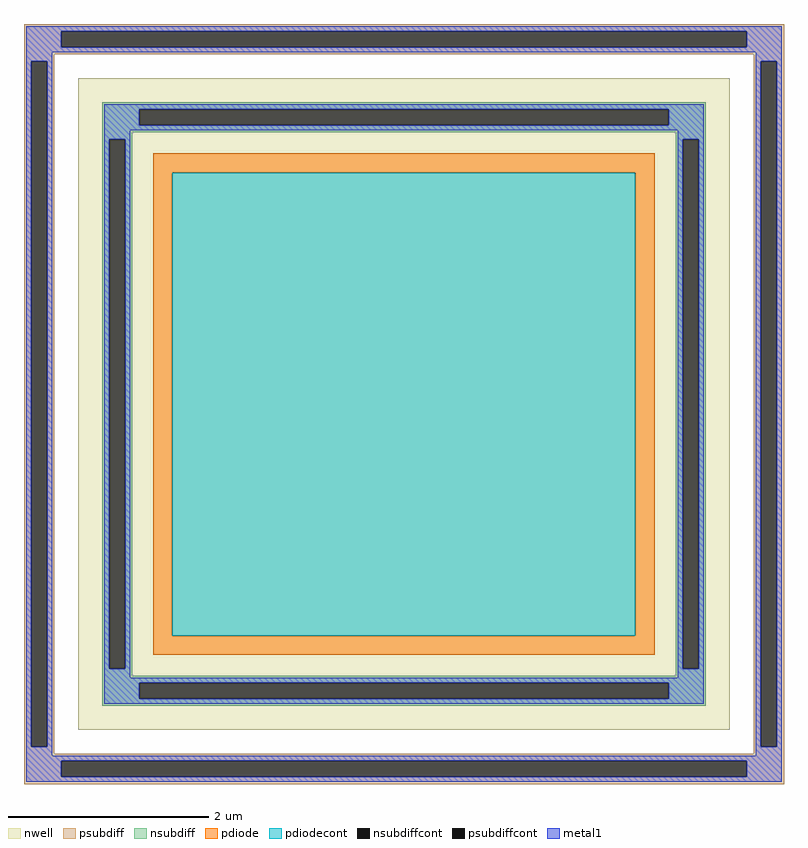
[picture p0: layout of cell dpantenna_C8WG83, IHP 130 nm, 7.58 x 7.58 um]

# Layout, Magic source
magic
tech ihp-sg13g2
magscale 1 2
<< nwell >>
rect -650 -650 650 650
<< psubdiff >>
rect -758 744 758 758
rect -758 712 -684 744
rect 684 712 758 744
rect -758 698 758 712
rect -758 684 -698 698
rect -758 -684 -744 684
rect -712 -684 -698 684
rect 698 684 758 698
rect -758 -698 -698 -684
rect 698 -684 712 684
rect 744 -684 758 684
rect 698 -698 758 -684
rect -758 -712 758 -698
rect -758 -744 -684 -712
rect 684 -744 758 -712
rect -758 -758 758 -744
<< nsubdiff >>
rect -602 588 602 602
rect -602 556 -528 588
rect 528 556 602 588
rect -602 542 602 556
rect -602 528 -542 542
rect -602 -528 -588 528
rect -556 -528 -542 528
rect 542 528 602 542
rect -602 -542 -542 -528
rect 542 -528 556 528
rect 588 -528 602 528
rect 542 -542 602 -528
rect -602 -556 602 -542
rect -602 -588 -528 -556
rect 528 -588 602 -556
rect -602 -602 602 -588
<< psubdiffcont >>
rect -684 712 684 744
rect -744 -684 -712 684
rect 712 -684 744 684
rect -684 -744 684 -712
<< nsubdiffcont >>
rect -528 556 528 588
rect -588 -528 -556 528
rect 556 -528 588 528
rect -528 -588 528 -556
<< pdiode >>
rect -500 461 500 500
rect -500 -462 -462 461
rect 461 -462 500 461
rect -500 -500 500 -462
<< pdiodecont >>
rect -462 -462 461 461
<< metal1 >>
rect -754 744 754 754
rect -754 712 -684 744
rect 684 712 754 744
rect -754 702 754 712
rect -754 684 -702 702
rect -754 -684 -744 684
rect -712 -684 -702 684
rect 702 684 754 702
rect -598 588 598 598
rect -598 556 -528 588
rect 528 556 598 588
rect -598 546 598 556
rect -598 528 -546 546
rect -598 -528 -588 528
rect -556 -528 -546 528
rect 546 528 598 546
rect -598 -546 -546 -528
rect 546 -528 556 528
rect 588 -528 598 528
rect 546 -546 598 -528
rect -598 -556 598 -546
rect -598 -588 -528 -556
rect 528 -588 598 -556
rect -598 -598 598 -588
rect -754 -702 -702 -684
rect 702 -684 712 684
rect 744 -684 754 684
rect 702 -702 754 -684
rect -754 -712 754 -702
rect -754 -744 -684 -712
rect 684 -744 754 -712
rect -754 -754 754 -744
<< properties >>
string gencell dpantenna
string library sg13g2_devstdin
string parameters w 5 l 5 nx 1 dx 0.18 ny 1 dy 0.18 wmin 0.50 lmin 0.50 class diode contcov 95 glc 1 grc 1 gtc 1 gbc 1
<< end >>
